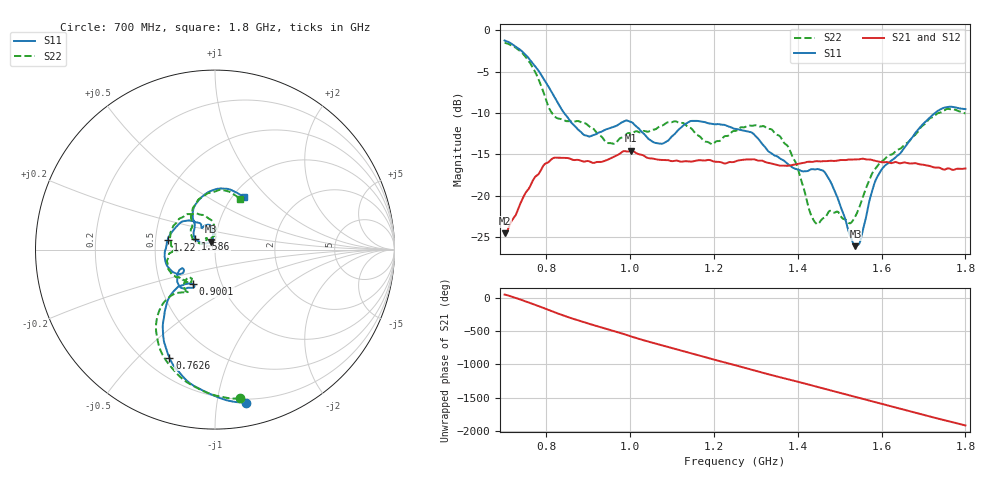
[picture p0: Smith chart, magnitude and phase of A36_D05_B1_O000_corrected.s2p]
! Created with skrf 1.9.0 (http://scikit-rf.org).
# Hz S RI R 50.0
!freq ReS11 ImS11 ReS21 ImS21 ReS12 ImS12 ReS22 ImS22
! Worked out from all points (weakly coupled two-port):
!   1601 points, 700 MHz to 1.8 GHz, reference 50 ohm
!   highest |S21| = -14.56 dB at 1.002 GHz (marker M1); lowest = -24.6 dB at 700.7 MHz (marker M2)
!   lowest |S11| = -26.1 dB at 1.537 GHz (marker M3), VSWR 1.10, Z = 47.7 + j4.23 ohm
!   |S11| at or under -10 dB: 842.1 MHz to 1.727 GHz (885 MHz wide, 68.9 % of centre)
!   |S22| runs from -23.5 to -1.5 dB; largest |S21 - S12| = 0.0034
!   S11 on the Smith chart (normalised r, x): 700 MHz: 0.17, -1.21; 762.6 MHz: 0.30, -0.62; 900.1 MHz: 0.73, -0.30; 1.22 GHz: 0.58, +0.07; 1.586 GHz: 0.80, +0.10; 1.8 GHz: 1.13, +0.74
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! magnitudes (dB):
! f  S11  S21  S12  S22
! 700 MHz  -1.2  -24.6  -24.3  -1.5
! 700.7 MHz  -1.2  -24.6  -24.3  -1.5
! 762.6 MHz  -3.7  -18.7  -18.7  -4.1
! 816.9 MHz  -7.8  -15.4  -15.5  -10.2
! 883.6 MHz  -12.4  -15.8  -15.7  -11.1
! 900.1 MHz  -12.8  -15.8  -15.8  -11.5
! 947.5 MHz  -11.9  -15.6  -15.6  -13.6
! 1.002 GHz  -11.1  -14.6  -14.7  -12.5
! 1.067 GHz  -13.7  -15.6  -15.6  -11.7
! 1.144 GHz  -11.0  -15.9  -15.9  -11.8
! 1.22 GHz  -11.4  -16.0  -16.0  -13.1
! 1.25 GHz  -11.9  -15.9  -15.8  -12.2
! 1.358 GHz  -15.5  -16.4  -16.3  -12.8
! 1.396 GHz  -16.8  -16.2  -16.2  -16.1
! 1.434 GHz  -16.8  -15.9  -15.9  -22.6
! 1.475 GHz  -18.0  -15.8  -15.8  -21.9
! 1.537 GHz  -26.1  -15.6  -15.6  -22.5
! 1.55 GHz  -25.4  -15.6  -15.6  -21.0
! 1.586 GHz  -18.1  -15.8  -15.8  -16.7
! 1.617 GHz  -16.0  -16.0  -15.9  -15.1
! 1.733 GHz  -9.8  -16.6  -16.6  -10.1
! 1.8 GHz  -9.5  -16.7  -16.7  -10.0
